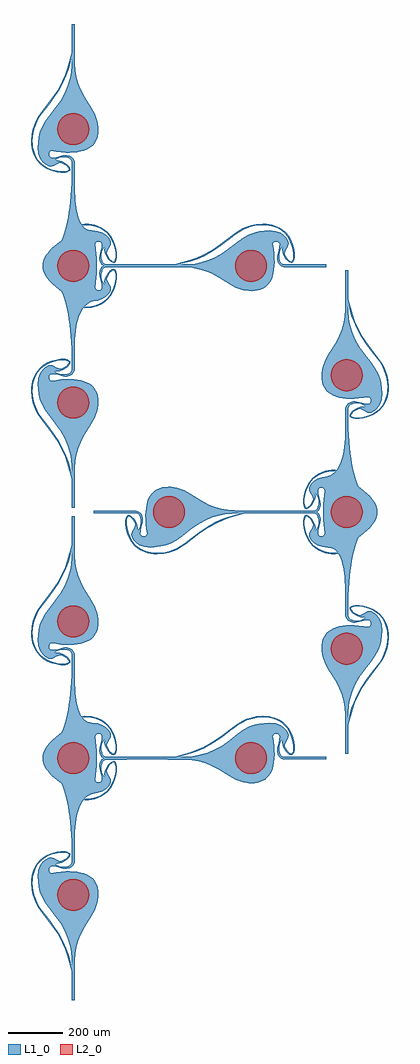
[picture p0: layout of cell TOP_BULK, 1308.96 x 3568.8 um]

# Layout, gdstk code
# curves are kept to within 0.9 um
from math import pi, radians
import gdstk
lib = gdstk.Library(unit=1e-6, precision=1e-09)
def R(c, l, rs):  # rectangles x0, y0, x1, y1
    for r in rs: c.add(gdstk.rectangle(r[:2], r[2:], *l))
def P(c, l, *ps):  # polygons
    for p in ps: c.add(gdstk.Polygon(p, *l))
L1_0 = (1, 0)
L2_0 = (2, 0)

network = lib.new_cell('NETWORK')
R(network, L1_0, [(-655.055,-884.401,-644.945,-804.401), (-655.055,804.401,-644.945,884.401)])
P(network, L1_0, [(195.591,-4.995),(120.058,-5.021),(110.872,-1.57),(102.58,5.22),(98.087,12.881),(95.188,24.691),(96.203,37.536),(101.431,54.653),(103.819,68.998),(104.388,80.725),(99.759,86.638),(107.162,81.625),(117.642,69.984),(109.311,62.052),(104.875,51.672),(103.181,39.579),(102.982,28.296),(105.252,19.326),(106.476,15.105),(111.172,9.114),(120.058,5.004),(195.607,5)],
  [(-304.401,5.055),(-212.49,6.7),(-194.618,9.967),(-158.072,20.102),(-130.295,31.756),(-104.294,46.08),(-28.202,103.116),(-4.748,116.035),(12.093,121.969),(29.946,126.092),(66.978,129.939),(89.639,127.445),(107.815,120.933),(120.445,111.69),(129.248,102.594),(136.278,90.425),(136.278,77.228),(130.082,64.219),(117.642,69.984),(107.162,81.625),(95.596,88.651),(88.915,88.384),(83.392,85.713),(79.817,80.188),(84.517,44.342),(85.91,12.673),(83.996,-14.819),(78.773,-38.135),(70.243,-57.274),(58.405,-72.236),(43.26,-83.021),(24.807,-89.629),(3.047,-92.061),(-9.074,-91.71),(-29.325,-88.491),(-55.516,-79.23),(-78.163,-66.655),(-115.687,-42.773),(-144.572,-27.262),(-166.06,-18.969),(-191.816,-11.576),(-215.002,-7.742),(-240.125,-5.783),(-304.401,-5.055)],
  [(-263.67,5.041),(-278.766,5.044),(-221.005,21.817),(-198.32,29.804),(-174.344,40.317),(-142.962,57.572),(-112.162,78.167),(-61.065,117.225),(-42.83,129.712),(-29.428,137.356),(-14.99,143.497),(0.181,148.339),(18.408,152.322),(42.859,154.481),(67.499,152.377),(87.56,147.16),(104.407,139.537),(115.337,132.451),(126.247,122.852),(137.883,109.311),(146.904,93.227),(152.588,79.122),(157.621,59.849),(159.844,45.138),(159.65,29.909),(157.754,22.131),(154.553,15.862),(151.293,11.774),(146.582,10.508),(140.13,12.89),(127.85,24.606),(118.361,40.228),(115.353,49.493),(113.896,58.081),(114.449,64.58),(117.642,69.984),(130.082,64.219),(122.916,48.303),(123.942,41.344),(133.99,24.606),(139.843,19.298),(147.04,15.209),(151.851,20.701),(154.642,31.302),(154.741,45.699),(152.783,58.318),(147.882,77.189),(142.522,90.789),(133.439,106.537),(123.384,118.894),(111.612,129.152),(98.805,136.929),(82.984,143.468),(66.13,147.516),(55.008,148.889),(42.334,149.411),(29.464,148.627),(14.228,146.406),(-0.611,142.742),(-14.918,137.845),(-28.441,131.968),(-43.285,123.797),(-57.996,113.705),(-110.341,73.271),(-140.086,53.586),(-171.77,35.955),(-197.004,24.904),(-218.214,17.354)],
  [(-454.409,-4.995),(-529.942,-5.021),(-539.128,-1.57),(-547.42,5.22),(-551.913,12.881),(-554.812,24.691),(-553.797,37.536),(-548.569,54.653),(-546.181,68.998),(-545.612,80.725),(-550.241,86.638),(-542.838,81.625),(-532.358,69.984),(-540.689,62.052),(-545.125,51.672),(-546.819,39.579),(-547.018,28.296),(-544.748,19.326),(-543.524,15.105),(-538.828,9.114),(-529.942,5.004),(-454.393,5)],
  [(-727.343,65.633),(-678.202,103.116),(-654.748,116.035),(-637.907,121.969),(-620.054,126.092),(-583.022,129.939),(-560.361,127.445),(-542.185,120.933),(-529.555,111.69),(-520.752,102.594),(-513.722,90.425),(-512.869,83.385),(-513.722,77.228),(-519.918,64.219),(-532.358,69.984),(-542.838,81.625),(-554.404,88.651),(-561.085,88.384),(-566.608,85.713),(-570.183,80.188),(-564.373,27.985),(-564.634,-1.595),(-568.202,-26.999),(-575.078,-48.226),(-585.262,-65.277),(-598.754,-78.15),(-615.553,-86.847),(-635.66,-91.367),(-659.074,-91.71),(-679.325,-88.491)],
  [(-664.99,143.497),(-649.819,148.339),(-631.592,152.322),(-607.141,154.481),(-594.259,153.878),(-582.501,152.377),(-562.44,147.16),(-545.593,139.537),(-534.663,132.451),(-523.753,122.852),(-512.117,109.311),(-503.096,93.227),(-497.412,79.122),(-492.379,59.849),(-490.156,45.138),(-490.35,29.909),(-492.246,22.131),(-495.447,15.862),(-498.707,11.774),(-503.418,10.508),(-509.87,12.89),(-522.15,24.606),(-531.639,40.228),(-534.647,49.493),(-536.104,58.081),(-535.551,64.58),(-532.358,69.984),(-519.918,64.219),(-527.084,48.303),(-526.058,41.344),(-516.01,24.606),(-510.157,19.298),(-502.96,15.209),(-498.149,20.701),(-495.358,31.302),(-495.259,45.699),(-497.217,58.318),(-502.118,77.189),(-507.478,90.789),(-516.561,106.537),(-526.616,118.894),(-538.388,129.152),(-551.195,136.929),(-567.016,143.468),(-583.87,147.516),(-594.992,148.889),(-607.666,149.411),(-620.536,148.627),(-635.772,146.406),(-650.611,142.742),(-664.918,137.845)],
  [(-454.409,4.995),(-529.942,5.021),(-539.128,1.57),(-547.42,-5.22),(-551.913,-12.881),(-554.812,-24.691),(-553.797,-37.536),(-548.569,-54.653),(-546.181,-68.998),(-545.612,-80.725),(-550.241,-86.638),(-542.838,-81.625),(-532.358,-69.984),(-540.689,-62.052),(-545.125,-51.672),(-546.819,-39.579),(-547.018,-28.296),(-544.748,-19.326),(-543.524,-15.105),(-538.828,-9.114),(-529.942,-5.004),(-454.393,-5)],
  [(-727.343,-65.633),(-678.202,-103.116),(-654.748,-116.035),(-637.907,-121.969),(-620.054,-126.092),(-583.022,-129.939),(-560.361,-127.445),(-542.185,-120.933),(-529.555,-111.69),(-520.752,-102.594),(-513.722,-90.425),(-512.869,-83.385),(-513.722,-77.228),(-519.918,-64.219),(-532.358,-69.984),(-542.838,-81.625),(-554.404,-88.651),(-561.085,-88.384),(-566.608,-85.713),(-570.183,-80.188),(-564.373,-27.985),(-564.634,1.595),(-568.202,26.999),(-575.078,48.226),(-585.262,65.277),(-598.754,78.15),(-615.553,86.847),(-635.66,91.367),(-659.074,91.71),(-679.325,88.491)],
  [(-664.99,-143.497),(-649.819,-148.339),(-631.592,-152.322),(-607.141,-154.481),(-594.259,-153.878),(-582.501,-152.377),(-562.44,-147.16),(-545.593,-139.537),(-534.663,-132.451),(-523.753,-122.852),(-512.117,-109.311),(-503.096,-93.227),(-497.412,-79.122),(-492.379,-59.849),(-490.156,-45.138),(-490.35,-29.909),(-492.246,-22.131),(-495.447,-15.862),(-498.707,-11.774),(-503.418,-10.508),(-509.87,-12.89),(-522.15,-24.606),(-531.639,-40.228),(-534.647,-49.493),(-536.104,-58.081),(-535.551,-64.58),(-532.358,-69.984),(-519.918,-64.219),(-527.084,-48.303),(-526.058,-41.344),(-516.01,-24.606),(-510.157,-19.298),(-502.96,-15.209),(-498.149,-20.701),(-495.358,-31.302),(-495.259,-45.699),(-497.217,-58.318),(-502.118,-77.189),(-507.478,-90.789),(-516.561,-106.537),(-526.616,-118.894),(-538.388,-129.152),(-551.195,-136.929),(-567.016,-143.468),(-583.87,-147.516),(-594.992,-148.889),(-607.666,-149.411),(-620.536,-148.627),(-635.772,-146.406),(-650.611,-142.742),(-664.918,-137.845)],
  [(-645.005,304.409),(-644.979,379.942),(-648.43,389.128),(-655.22,397.42),(-662.881,401.913),(-674.691,404.812),(-687.536,403.797),(-704.653,398.569),(-718.998,396.181),(-730.725,395.612),(-736.638,400.241),(-731.625,392.838),(-719.984,382.358),(-712.052,390.689),(-701.672,395.125),(-689.579,396.819),(-678.296,397.018),(-669.326,394.748),(-665.105,393.524),(-659.114,388.828),(-655.004,379.942),(-655,304.393)],
  [(-655.055,804.401),(-656.7,712.49),(-659.967,694.618),(-670.102,658.072),(-681.756,630.295),(-696.08,604.294),(-753.116,528.202),(-766.035,504.748),(-771.969,487.907),(-776.092,470.054),(-779.939,433.022),(-777.445,410.361),(-770.933,392.185),(-761.69,379.555),(-752.594,370.752),(-740.425,363.722),(-727.228,363.722),(-714.219,369.918),(-719.984,382.358),(-731.625,392.838),(-738.651,404.404),(-738.384,411.085),(-735.713,416.608),(-730.188,420.183),(-694.342,415.483),(-662.673,414.09),(-635.181,416.004),(-611.865,421.227),(-592.726,429.757),(-577.764,441.595),(-566.979,456.74),(-560.371,475.193),(-557.939,496.953),(-558.29,509.074),(-561.509,529.325),(-570.77,555.516),(-583.345,578.163),(-607.227,615.687),(-622.738,644.572),(-631.031,666.06),(-638.424,691.816),(-642.258,715.002),(-644.217,740.125),(-644.945,804.401)],
  [(-655.041,763.67),(-655.044,778.766),(-671.817,721.005),(-679.804,698.32),(-690.317,674.344),(-707.572,642.962),(-728.167,612.162),(-767.225,561.065),(-779.712,542.83),(-787.356,529.428),(-793.497,514.99),(-798.339,499.819),(-802.322,481.592),(-804.481,457.141),(-802.377,432.501),(-797.16,412.44),(-789.537,395.593),(-782.451,384.663),(-772.852,373.753),(-759.311,362.117),(-743.227,353.096),(-729.122,347.412),(-709.849,342.379),(-695.138,340.156),(-679.909,340.35),(-672.131,342.246),(-665.862,345.447),(-661.774,348.707),(-660.508,353.418),(-662.89,359.87),(-674.606,372.15),(-690.228,381.639),(-699.493,384.647),(-708.081,386.104),(-714.58,385.551),(-719.984,382.358),(-714.219,369.918),(-698.303,377.084),(-691.344,376.058),(-674.606,366.01),(-669.298,360.157),(-665.209,352.96),(-670.701,348.149),(-681.302,345.358),(-695.699,345.259),(-708.318,347.217),(-727.189,352.118),(-740.789,357.478),(-756.537,366.561),(-768.894,376.616),(-779.152,388.388),(-786.929,401.195),(-793.468,417.016),(-797.516,433.87),(-798.889,444.992),(-799.411,457.666),(-798.627,470.536),(-796.406,485.772),(-792.742,500.611),(-787.845,514.918),(-781.968,528.441),(-773.797,543.285),(-763.705,557.996),(-723.271,610.341),(-703.586,640.086),(-685.955,671.77),(-674.904,697.004),(-667.354,718.214)],
  [(-645.005,-304.409),(-644.979,-379.942),(-648.43,-389.128),(-655.22,-397.42),(-662.881,-401.913),(-674.691,-404.812),(-687.536,-403.797),(-704.653,-398.569),(-718.998,-396.181),(-730.725,-395.612),(-736.638,-400.241),(-731.625,-392.838),(-719.984,-382.358),(-712.052,-390.689),(-701.672,-395.125),(-689.579,-396.819),(-678.296,-397.018),(-669.326,-394.748),(-665.105,-393.524),(-659.114,-388.828),(-655.004,-379.942),(-655,-304.393)],
  [(-655.055,-804.401),(-656.7,-712.49),(-659.967,-694.618),(-670.102,-658.072),(-681.756,-630.295),(-696.08,-604.294),(-753.116,-528.202),(-766.035,-504.748),(-771.969,-487.907),(-776.092,-470.054),(-779.939,-433.022),(-777.445,-410.361),(-770.933,-392.185),(-761.69,-379.555),(-752.594,-370.752),(-740.425,-363.722),(-727.228,-363.722),(-714.219,-369.918),(-719.984,-382.358),(-731.625,-392.838),(-738.651,-404.404),(-738.384,-411.085),(-735.713,-416.608),(-730.188,-420.183),(-694.342,-415.483),(-662.673,-414.09),(-635.181,-416.004),(-611.865,-421.227),(-592.726,-429.757),(-577.764,-441.595),(-566.979,-456.74),(-560.371,-475.193),(-557.939,-496.953),(-558.29,-509.074),(-561.509,-529.325),(-570.77,-555.516),(-583.345,-578.163),(-607.227,-615.687),(-622.738,-644.572),(-631.031,-666.06),(-638.424,-691.816),(-642.258,-715.002),(-644.217,-740.125),(-644.945,-804.401)],
  [(-655.041,-763.67),(-655.044,-778.766),(-671.817,-721.005),(-679.804,-698.32),(-690.317,-674.344),(-707.572,-642.962),(-728.167,-612.162),(-767.225,-561.065),(-779.712,-542.83),(-787.356,-529.428),(-793.497,-514.99),(-798.339,-499.819),(-802.322,-481.592),(-804.481,-457.141),(-802.377,-432.501),(-797.16,-412.44),(-789.537,-395.593),(-782.451,-384.663),(-772.852,-373.753),(-759.311,-362.117),(-743.227,-353.096),(-729.122,-347.412),(-709.849,-342.379),(-695.138,-340.156),(-679.909,-340.35),(-672.131,-342.246),(-665.862,-345.447),(-661.774,-348.707),(-660.508,-353.418),(-662.89,-359.87),(-674.606,-372.15),(-690.228,-381.639),(-699.493,-384.647),(-708.081,-386.104),(-714.58,-385.551),(-719.984,-382.358),(-714.219,-369.918),(-698.303,-377.084),(-691.344,-376.058),(-674.606,-366.01),(-669.298,-360.157),(-665.209,-352.96),(-670.701,-348.149),(-681.302,-345.358),(-695.699,-345.259),(-708.318,-347.217),(-727.189,-352.118),(-740.789,-357.478),(-756.537,-366.561),(-768.894,-376.616),(-779.152,-388.388),(-786.929,-401.195),(-793.468,-417.016),(-797.516,-433.87),(-798.889,-444.992),(-799.411,-457.666),(-798.627,-470.536),(-796.406,-485.772),(-792.742,-500.611),(-787.845,-514.918),(-781.968,-528.441),(-773.797,-543.285),(-763.705,-557.996),(-723.271,-610.341),(-703.586,-640.086),(-685.955,-671.77),(-674.904,-697.004),(-667.354,-718.214)],
  [(-727.343,65.633),(-740.529,51.816),(-750.612,37.998),(-759.919,17.272),(-762.246,3.454),(-759.919,-17.272),(-754.49,-31.089),(-740.529,-51.816),(-727.343,-65.633)],
  [(-454.393,5),(-454.409,-4.995),(-304.401,-5.055),(-304.401,5.055)],
  [(-645.005,304.409),(-643.46,253.663),(-638.824,211.616),(-631.098,178.269),(-624.23,160.87),(-611.352,142.021),(-601.05,134.289),(-589.375,130.422),(-560.361,127.445),(-573.657,73.784),(-578.976,33.538),(-580.306,6.708),(-578.976,-33.538),(-575.873,-60.369),(-567.896,-100.614),(-560.361,-127.445),(-577.243,-129.406),(-592.249,-135.288),(-599.049,-139.7),(-611.241,-151.465),(-621.558,-167.152),(-629.999,-186.76),(-639.143,-223.525),(-642.895,-252.937),(-645.005,-304.409),(-655,-304.393),(-663.192,-214.445),(-668.696,-177.407),(-678.711,-131.772),(-686.561,-107.962),(-700.095,-82.168),(-710.29,-71.585),(-721.424,-66.294),(-727.343,-65.633),(-727.343,65.633),(-715.74,68.279),(-705.075,76.215),(-695.349,89.443),(-682.519,119.205),(-675.138,145.661),(-665.827,195.264),(-660.792,234.948),(-655,304.393)],
  [(195.607,5),(195.591,-4.995),(275.591,-4.995),(275.607,5)])
P(network, L2_0, [(58,0),(56.952,10.977),(53.845,21.556),(48.793,31.357),(41.977,40.025),(32.127,48.289),(22.408,53.497),(11.879,56.771),(0.92,57.993),(-11.879,56.771),(-22.408,53.497),(-32.127,48.289),(-40.686,41.336),(-47.773,32.889),(-53.134,23.254),(-56.952,10.977),(-58,0),(-56.952,-10.977),(-53.845,-21.556),(-48.793,-31.357),(-41.977,-40.025),(-32.127,-48.289),(-22.408,-53.497),(-11.879,-56.771),(-0.92,-57.993),(11.879,-56.771),(22.408,-53.497),(32.127,-48.289),(40.686,-41.336),(47.773,-32.889),(53.134,-23.254),(56.952,-10.977)],
  [(-592,0),(-593.048,10.977),(-596.155,21.556),(-601.207,31.357),(-608.023,40.025),(-617.873,48.289),(-627.592,53.497),(-638.121,56.771),(-649.08,57.993),(-661.879,56.771),(-672.408,53.497),(-682.127,48.289),(-690.686,41.336),(-697.773,32.889),(-703.134,23.254),(-706.952,10.977),(-708,0),(-706.952,-10.977),(-703.845,-21.556),(-698.793,-31.357),(-691.977,-40.025),(-682.127,-48.289),(-672.408,-53.497),(-661.879,-56.771),(-650.92,-57.993),(-638.121,-56.771),(-627.592,-53.497),(-617.873,-48.289),(-609.314,-41.336),(-602.227,-32.889),(-596.866,-23.254),(-593.048,-10.977)],
  [(-592,500),(-593.048,510.977),(-596.155,521.556),(-601.207,531.357),(-608.023,540.025),(-616.357,547.245),(-625.906,552.759),(-638.121,556.771),(-649.08,557.993),(-660.072,557.119),(-670.699,554.181),(-680.579,549.284),(-690.686,541.336),(-697.773,532.889),(-703.134,523.254),(-706.952,510.977),(-708,500),(-706.952,489.023),(-703.845,478.444),(-698.793,468.643),(-691.977,459.975),(-682.127,451.711),(-672.408,446.503),(-661.879,443.229),(-650.92,442.007),(-638.121,443.229),(-627.592,446.503),(-617.873,451.711),(-609.314,458.664),(-602.227,467.111),(-596.866,476.746),(-593.048,489.023)],
  [(-592,-500),(-593.048,-489.023),(-596.155,-478.444),(-601.207,-468.643),(-608.023,-459.975),(-617.873,-451.711),(-627.592,-446.503),(-638.121,-443.229),(-649.08,-442.007),(-661.879,-443.229),(-672.408,-446.503),(-682.127,-451.711),(-690.686,-458.664),(-697.773,-467.111),(-703.134,-476.746),(-706.952,-489.023),(-708,-500),(-706.952,-510.977),(-703.845,-521.556),(-698.793,-531.357),(-691.977,-540.025),(-683.643,-547.245),(-674.094,-552.759),(-661.879,-556.771),(-650.92,-557.993),(-639.928,-557.119),(-629.301,-554.181),(-619.421,-549.284),(-609.314,-541.336),(-602.227,-532.889),(-596.866,-523.254),(-593.048,-510.977)])

top_bulk = lib.new_cell('TOP_BULK')
top_bulk.add(gdstk.Reference(network, (0,0)))
top_bulk.add(gdstk.Reference(network, (0,1800)))
top_bulk.add(gdstk.Reference(network, (-300,900), rotation=pi))

lib.write_gds('TOP_BULK.gds')
